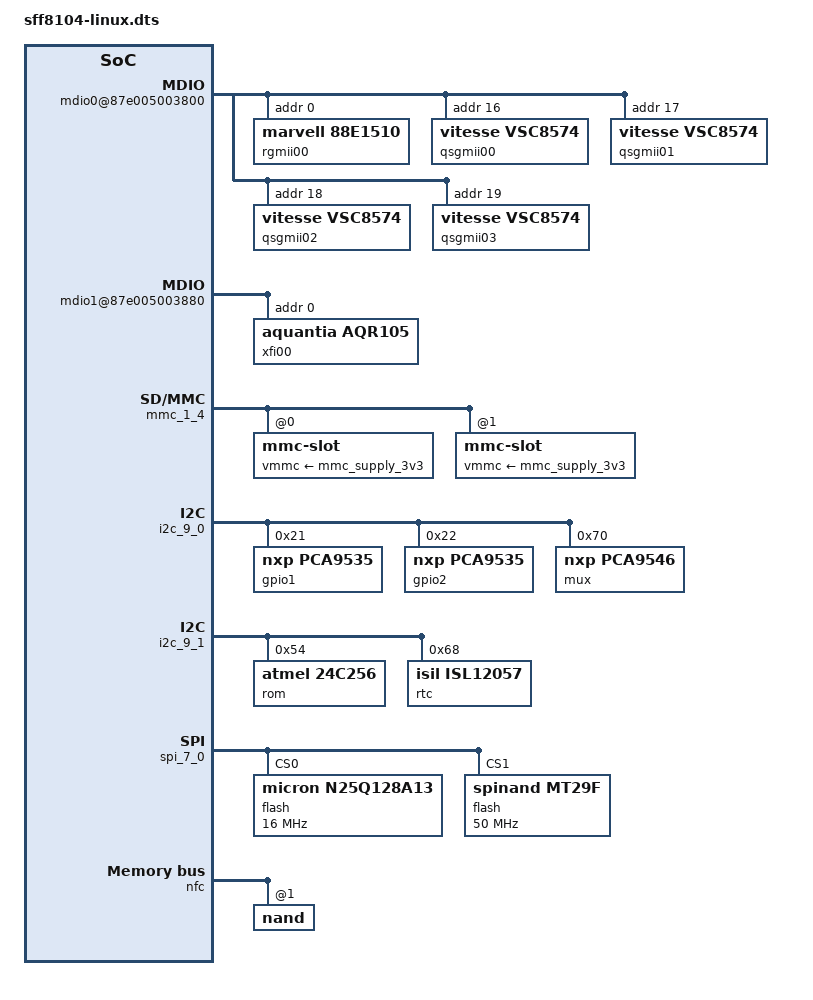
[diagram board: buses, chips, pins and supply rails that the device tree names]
/*
 * Cavium Thunder DTS file - Thunder board description
 *
 * Copyright (C) 2016, Cavium Inc.
 *
 * This file is dual-licensed: you can use it either under the terms
 * of the GPL or the X11 license, at your option. Note that this dual
 * licensing only applies to this file, and not this project as a
 * whole.
 *
 * a) This program is free software; you can redistribute it and/or modify
 *    it under the terms of the GNU General Public License as published by
 *    the Free Software Foundation; version 2 of the License.
 *
 *    This program is distributed in the hope that it will be useful,
 *    but WITHOUT ANY WARRANTY; without even the implied warranty of
 *    MERCHANTABILITY or FITNESS FOR A PARTICULAR PURPOSE.  See the
 *    GNU General Public License for more details.
 *
 * Or, alternatively,
 *
 *  b) Permission is hereby granted, free of charge, to any person
 *     obtaining a copy of this software and associated documentation
 *     files (the "Software"), to deal in the Software without
 *     restriction, including without limitation the rights to use,
 *     copy, modify, merge, publish, distribute, sublicense, and/or
 *     sell copies of the Software, and to permit persons to whom the
 *     Software is furnished to do so, subject to the following
 *     conditions:
 *
 *     The above copyright notice and this permission notice shall be
 *     included in all copies or substantial portions of the Software.
 *
 *     THE SOFTWARE IS PROVIDED "AS IS", WITHOUT WARRANTY OF ANY KIND,
 *     EXPRESS OR IMPLIED, INCLUDING BUT NOT LIMITED TO THE WARRANTIES
 *     OF MERCHANTABILITY, FITNESS FOR A PARTICULAR PURPOSE AND
 *     NONINFRINGEMENT. IN NO EVENT SHALL THE AUTHORS OR COPYRIGHT
 *     HOLDERS BE LIABLE FOR ANY CLAIM, DAMAGES OR OTHER LIABILITY,
 *     WHETHER IN AN ACTION OF CONTRACT, TORT OR OTHERWISE, ARISING
 *     FROM, OUT OF OR IN CONNECTION WITH THE SOFTWARE OR THE USE OR
 *     OTHER DEALINGS IN THE SOFTWARE.
 */

/dts-v1/;

/include/ "cn81xx-linux.dtsi"

&mrml_bridge {
	mdio-nexus@1,3 {
		mdio0@87e005003800 {
			rgmii00: rgmii00 {
				reg = <0> ;
				compatible = "marvell,88e1510", "ethernet-phy-ieee802.3-c22";
			};

			qsgmii00: qsgmii00 {
				qlm-mode = "0x000,qsgmii";
				reg = <0x10> ;
				compatible = "vitesse,vsc8574", "ethernet-phy-ieee802.3-c22";
			};
			qsgmii01: qsgmii01 {
				qlm-mode = "0x001,qsgmii";
				reg = <0x11> ;
				compatible = "vitesse,vsc8574", "ethernet-phy-ieee802.3-c22";
			};
			qsgmii02: qsgmii02 {
				qlm-mode = "0x002,qsgmii";
				reg = <0x12> ;
				compatible = "vitesse,vsc8574", "ethernet-phy-ieee802.3-c22";
			};
			qsgmii03: qsgmii03 {
				qlm-mode = "0x003,qsgmii";
				reg = <0x13> ;
				compatible = "vitesse,vsc8574", "ethernet-phy-ieee802.3-c22";
			};
		};
		mdio1@87e005003880 {
			xfi00: xfi00 {
				qlm-mode = "0x000,xfi";
				reg = <0x0>;
				compatible = "aquantia,aqr105", "ethernet-phy-ieee802.3-c45";
			};
		};
	};

	rgx0 {
		rgmii00 {
			reg = <0>;
			local-mac-address = [00 00 00 00 00 00];
			phy-handle = <&rgmii00>;
		};
	};

	bgx0 {
		/* typename+qlm+typenumber eg :
		   qsgmii+bgx0+sgmmi0
		 */
		qsgmii00 {
			reg = <0>;
			qlm-mode = "0x000,qsgmii";
			local-mac-address = [00 00 00 00 00 00];
			phy-handle = <&qsgmii00>;
		};
		qsgmii01 {
			reg = <1>;
			qlm-mode = "0x001,qsgmii";
			local-mac-address = [00 00 00 00 00 00];
			phy-handle = <&qsgmii01>;
		};
		qsgmii02 {
			reg = <2>;
			qlm-mode = "0x002,qsgmii";
			local-mac-address = [00 00 00 00 00 00];
			phy-handle = <&qsgmii02>;
		};
		qsgmii03 {
			reg = <3>;
			qlm-mode = "0x003,qsgmii";
			local-mac-address = [00 00 00 00 00 00];
			phy-handle = <&qsgmii03>;
		};

		xfi00 {
			reg = <0>;
			qlm-mode = "0x000,xfi";
			local-mac-address = [00 00 00 00 00 00];
			phy-handle = <&xfi00>;
		};
	};

	bgx1 {
		xfi10 {
			reg = <0>;
			qlm-mode = "0x010,xfi";
			local-mac-address = [00 00 00 00 00 00];
		};

		xfi11 {
			reg = <1>;
			qlm-mode = "0x011,xfi";
			local-mac-address = [00 00 00 00 00 00];
		};
	};


};

&mmc_1_4 {
	/* NOTE: the BDK is responsible for swapping the two slots.
	 * Unfortunately there does not appear to be any way to read the
	 * position of SW2-7 in software.
	 */
	mmc-slot@0 {
		compatible = "mmc-slot";
		reg = <0>;
		vmmc-supply = <&mmc_supply_3v3>;
		max-frequency = <26000000>;
		/* 1.8v is not supported */
		no-1-8-v;
		/* Bus width is only 4 bits maximum */
		bus-width = <4>;
		/* No write-protect switch is present */
		disable-wp;
		/* There is no card detection available; polling must be used. */
		broken-cd;
		/* High-speed mode is supported */
		cap-sd-highspeed;
		/* speed up device probing */
		no-sdio;
		no-mmc;
	};
	mmc-slot@1 {
		compatible = "mmc-slot";
		reg = <1>;
		vmmc-supply = <&mmc_supply_3v3>;
		max-frequency = <26000000>;
		mmc-ddr-3_3v;
		/* 1.8v is not supported */
		no-1-8-v;
		/* Bus width is only 8 bits maximum */
		bus-width = <8>;
		/* No write-protect switch is present */
		disable-wp;
		/* There is no card detection available; polling must be used. */
		broken-cd;
		/* High-speed mode is supported */
		cap-mmc-highspeed;
		/* eMMC device is soldered onto the board */
		non-removable;
		/* speed up device probing */
		no-sdio;
		no-sd;
	};
};

&i2c_9_0 {
        /* another pca9535 at 0x20 is only visible via jtag */
        gpio1: gpio-i2c@21 {
                compatible = "nxp,pca9535";
		gpio-controller;
                reg = <0x21>;
                gpio_base = <48>;
		pins = <48 16>;
		ngpios = <16>; // standard
		n_gpios = <16>; // deprecated, driver required
		#gpio-cells = <2>;
        };

        gpio2: gpio-i2c@22 {
                compatible = "nxp,pca9535";
		gpio-controller;
                reg = <0x22>;
                gpio_base = <64>;
		pins = <64 16>;
		ngpios = <16>; // standard
		n_gpios = <16>; // deprecated, driver required
		#gpio-cells = <2>;
        };

	mux@70 {
		compatible = "nxp,pca9546";
		reg = <0x70>;
		#address-cells = <1>;
		#size-cells = <0>;

		i2c@0 {
			#address-cells = <1>;
			#size-cells = <0>;
			reg = <0>;
		};

		i2c@1 {
			#address-cells = <1>;
			#size-cells = <0>;
			reg = <1>;
		};

		i2c@2 {
			#address-cells = <1>;
			#size-cells = <0>;
			reg = <2>;
		};
	};
};

&i2c_9_1 {
        rom@54 {
                compatible = "atmel,24c256";
                reg = <0x54>;
                pagesize = <64>;
        };

        rtc@68 {
                compatible = "isil,isl12057";
                reg = <0x68>;
        };
};

&spi_7_0 {
	flash@0 {
		compatible = "micron,n25q128a13", "spi-flash", "jedec,spi-nor";
		reg = <0x0>;
		spi-max-frequency = <16000000>;
		#address-cells = <1>;
		#size-cells = <1>;
	};
	flash@1 {
		compatible = "spinand,mt29f", "mt29f";
		reg = <0x1>;
		spi-max-frequency = <50000000>;
		#address-cells = <1>;
		#size-cells = <1>;
		nand-ecc-mode = "none";
	};
};

&nfc {
	nand@1 {
		reg = <0x1>;
		nand-ecc-mode = "none";
	};
};
